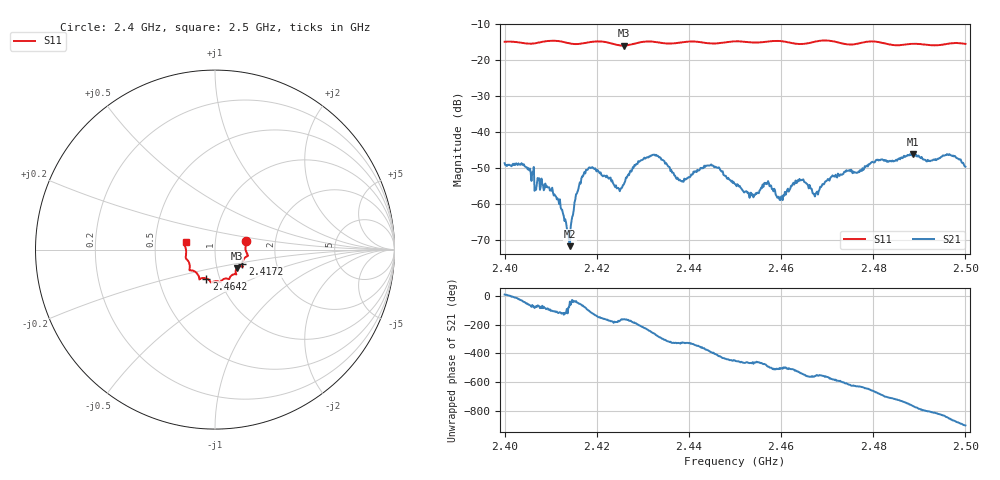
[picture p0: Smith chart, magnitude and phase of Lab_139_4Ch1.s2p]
# Hz S RI R 50
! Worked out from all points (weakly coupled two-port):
!   601 points, 2.4 GHz to 2.5 GHz, reference 50 ohm
!   highest |S21| = -46.06 dB at 2.4887 GHz (marker M1); lowest = -71.8 dB at 2.4142 GHz (marker M2)
!   lowest |S11| = -15.9 dB at 2.4258 GHz (marker M3), VSWR 1.38, Z = 62.3 - j13.3 ohm
!   |S11| at or under -10 dB: start of sweep to end of sweep
!   S12 and S22 are empty: the file has one direction only
!   S11 on the Smith chart (normalised r, x): 2.4 GHz: 1.41, +0.14; 2.4172 GHz: 1.34, -0.22; 2.4642 GHz: 0.86, -0.29; 2.5 GHz: 0.72, +0.06
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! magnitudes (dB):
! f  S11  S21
! 2.4 GHz  -14.9  -48.7
! 2.4042 GHz  -15.3  -48.9
! 2.41 GHz  -14.6  -56.0
! 2.4142 GHz  -15.3  -71.8
! 2.4167 GHz  -15.4  -52.9
! 2.4172 GHz  -15.3  -51.7
! 2.4192 GHz  -14.8  -49.9
! 2.4258 GHz  -15.9  -54.6
! 2.429 GHz  -15.1  -48.1
! 2.4333 GHz  -15.0  -46.7
! 2.4383 GHz  -15.1  -53.6
! 2.4448 GHz  -15.3  -49.0
! 2.45 GHz  -14.7  -54.5
! 2.4537 GHz  -15.1  -57.6
! 2.4568 GHz  -14.9  -54.2
! 2.4598 GHz  -14.7  -59.0
! 2.4642 GHz  -15.5  -53.5
! 2.4667 GHz  -15.0  -55.9
! 2.4833 GHz  -15.6  -48.2
! 2.4887 GHz  -15.4  -46.1
! 2.4965 GHz  -15.4  -46.1
! 2.5 GHz  -15.4  -49.6
